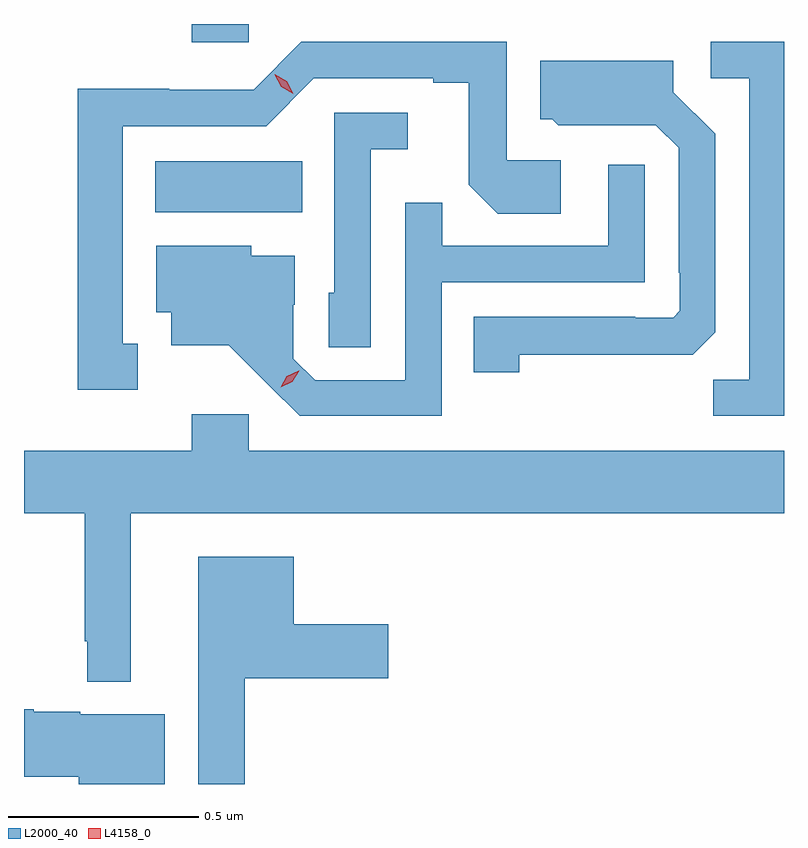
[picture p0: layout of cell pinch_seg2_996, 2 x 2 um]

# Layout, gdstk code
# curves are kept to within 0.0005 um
import gdstk
lib = gdstk.Library(unit=1e-6, precision=1e-09)
def R(c, l, rs):  # rectangles x0, y0, x1, y1
    for r in rs: c.add(gdstk.rectangle(r[:2], r[2:], *l))
def P(c, l, *ps):  # polygons
    for p in ps: c.add(gdstk.Polygon(p, *l))
L2000_40 = (2000, 40)
L4158_0 = (4158, 0)

pinch_seg2_996 = lib.new_cell('pinch_seg2_996')
R(pinch_seg2_996, L2000_40, [(347.381,627.116,347.768,627.25), (347.477,627.563,347.628,627.611)])
P(pinch_seg2_996, L2000_40, [(347.335,626.769),(347.296,626.769),(347.296,627.342),(347.673,627.342),(347.799,627.468),(348.113,627.468),(348.113,627.456),(348.207,627.456),(348.207,627.188),(348.283,627.112),(348.448,627.112),(348.448,627.252),(348.306,627.252),(348.306,627.564),(347.766,627.564),(347.64,627.438),(347.418,627.438),(347.418,627.44),(347.178,627.44),(347.178,626.649),(347.335,626.649)],
  [(349.036,627.564),(348.843,627.564),(348.843,627.468),(348.945,627.468),(348.945,626.675),(348.85,626.675),(348.85,626.58),(349.036,626.58)],
  [(348.339,626.74),(348.695,626.74),(348.695,626.741),(348.796,626.741),(348.855,626.8),(348.855,627.322),(348.745,627.432),(348.745,627.514),(348.395,627.514),(348.395,627.36),(348.426,627.36),(348.442,627.344),(348.576,627.344),(348.576,627.345),(348.699,627.345),(348.759,627.285),(348.759,626.956),(348.762,626.956),(348.762,626.856),(348.744,626.838),(348.644,626.838),(348.644,626.841),(348.22,626.841),(348.22,626.694),(348.339,626.694)],
  [(347.949,627.281),(348.046,627.281),(348.046,627.378),(347.853,627.378),(347.853,626.904),(347.838,626.904),(347.838,626.761),(347.949,626.761)],
  [(348.135,626.931),(348.669,626.931),(348.669,627.241),(348.573,627.241),(348.573,627.027),(348.137,627.027),(348.137,627.14),(348.039,627.14),(348.039,626.673),(347.802,626.673),(347.745,626.73),(347.745,626.872),(347.749,626.872),(347.749,627.001),(347.634,627.001),(347.634,627.028),(347.384,627.028),(347.384,626.852),(347.423,626.852),(347.423,626.765),(347.575,626.765),(347.762,626.58),(348.135,626.58)],
  [(347.036,626.324),(347.196,626.324),(347.196,625.987),(347.203,625.987),(347.203,625.88),(347.317,625.88),(347.317,626.324),(349.036,626.324),(349.036,626.488),(347.628,626.488),(347.628,626.584),(347.477,626.584),(347.477,626.488),(347.036,626.488)],
  [(347.617,625.889),(347.995,625.889),(347.995,626.031),(347.746,626.031),(347.746,626.209),(347.495,626.209),(347.495,625.611),(347.617,625.611)],
  [(347.407,625.795),(347.184,625.795),(347.184,625.801),(347.062,625.801),(347.062,625.808),(347.036,625.808),(347.036,625.63),(347.18,625.63),(347.18,625.611),(347.407,625.611)])
P(pinch_seg2_996, L4158_0, [(347.711,626.655),(347.711,626.655),(347.728,626.684),(347.759,626.699),(347.76,626.699),(347.76,626.699),(347.742,626.67),(347.711,626.655)],
  [(347.744,627.427),(347.713,627.446),(347.696,627.478),(347.696,627.479),(347.696,627.479),(347.727,627.46),(347.744,627.427),(347.744,627.427)])

lib.write_gds('pinch_seg2_996.gds')
